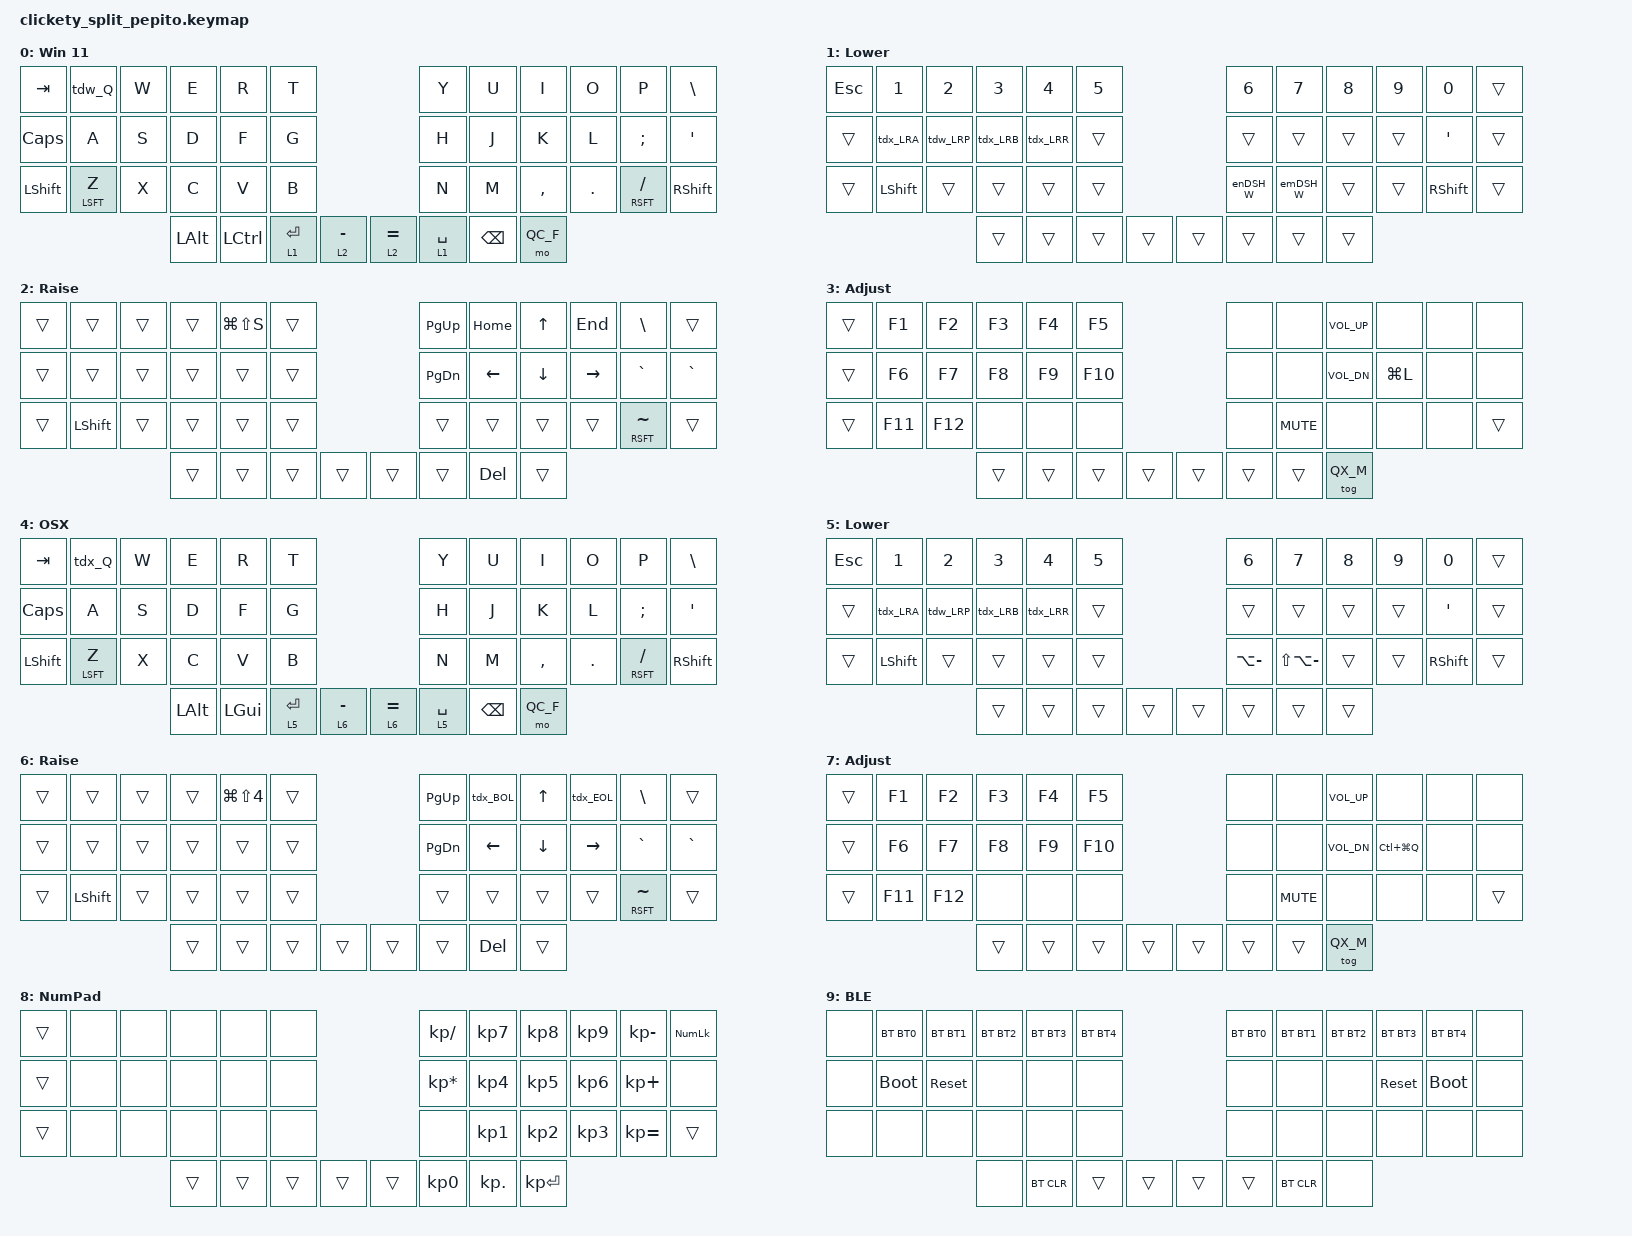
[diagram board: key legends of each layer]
/*
 * Copyright (c) 2024 The ZMK Contributors
 *
 * SPDX-License-Identifier: MIT
 */
#include <behaviors.dtsi>
#include <dt-bindings/zmk/keys.h>
#include <dt-bindings/zmk/bt.h>

// Layers
#define QW_M    0       // Main
#define QW_L    1       // Lower
#define QW_R    2       // Raise
#define QW_A    3       // Adjust

#define QX_M    4       // Main
#define QX_L    5       // Lower
#define QX_R    6       // Raise
#define QX_A    7       // Adjust

#define QC_N    8       // Number Pad
#define QC_F    9       // Firmware


// Short versions
#define WIN_SC  LG(LS(S))
#define OSX_SC  LG(LS(N4))
#define OSX_BOL LG(LEFT)
#define OSX_EOL LG(RIGHT)

#define enDSH_X LA(MINUS)
#define emDSH_X LS(LA(MINUS))

#define BT0     BT_SEL 0
#define BT1     BT_SEL 1
#define BT2     BT_SEL 2
#define BT3     BT_SEL 3
#define BT4     BT_SEL 4

#define BOOTLDR     &bootloader
#define SYSRSET     &sys_reset

#define VOLUP   C_VOL_UP
#define VOLDN   C_VOL_DN
#define VOLMT   C_MUTE

#define LOCK_W  LG(L)
#define LOCK_X  LC(LG(Q))

 
/ {
    conditional_layers {
        compatible = "zmk,conditional-layers";
        adjust_win_layer {
            if-layers = <1 2>;
            then-layer = <3>;
        };
        
        adjust_osx_layer {
            if-layers = <5 6>;
            then-layer = <7>;
        };
    };

    combos {
        compatible = "zmk,combos";
 
         
    };

    macros {
        enDSH_W: en_Dash {
            compatible = "zmk,behavior-macro";
            #binding-cells = <0>;
            wait-ms = <20>;
            tap-ms = <20>;
            bindings
                = <&macro_press   &kp LALT>
                , <&macro_tap     &kp KP_N0 &kp KP_N1 &kp KP_N5 &kp KP_N0>
                , <&macro_release &kp LALT>
                ;
        };

        emDSH_W: em_Dash {
            compatible = "zmk,behavior-macro";
            #binding-cells = <0>;
            wait-ms = <20>;
            tap-ms = <20>;
            bindings
                = <&macro_press   &kp LALT>
                , <&macro_tap     &kp KP_N0 &kp KP_N1 &kp KP_N5 &kp KP_N1>
                , <&macro_release &kp LALT>
                ;
        };
    };

    behaviors {
        tdw_Q: tap_dance_0 {
            compatible = "zmk,behavior-tap-dance";
            #binding-cells = <0>;
            tapping-term-ms = <200>;
            bindings = <&kp Q>, <&kp LA(F4)>;
        };

        tdx_Q: tap_dance_1 {
            compatible = "zmk,behavior-tap-dance";
            #binding-cells = <0>;
            tapping-term-ms = <200>;
            bindings = <&kp Q>, <&kp LG(Q)>;
        };

        tdw_LRP: tap_dance_2 {
            compatible = "zmk,behavior-tap-dance";
            #binding-cells = <0>;
            tapping-term-ms = <200>;
            bindings = <&kp LPAR>, <&kp RPAR>;
        };

        tdx_LRB: tap_dance_3 {
            compatible = "zmk,behavior-tap-dance";
            #binding-cells = <0>;
            tapping-term-ms = <200>;
            bindings = <&kp LBKT>, <&kp RBKT>;
        };

        tdx_LRR: tap_dance_4 {
            compatible = "zmk,behavior-tap-dance";
            #binding-cells = <0>;
            tapping-term-ms = <200>;
            bindings = <&kp LBRC>, <&kp RBRC>;
        };

        tdx_LRA: tap_dance_5 {
            compatible = "zmk,behavior-tap-dance";
            #binding-cells = <0>;
            tapping-term-ms = <200>;
            bindings = <&kp LT>, <&kp GT>;
        };

        tdx_BOL: tap_dance_6 {
            compatible = "zmk,behavior-tap-dance";
            #binding-cells = <0>;
            tapping-term-ms = <200>;
            bindings = <&kp LG(LEFT)>, <&kp HOME>;
        };

        tdx_EOL: tap_dance_7 {
            compatible = "zmk,behavior-tap-dance";
            #binding-cells = <0>;
            tapping-term-ms = <200>;
            bindings = <&kp LG(RIGHT)>, <&kp END>;
        };
    };

    keymap {
        compatible = "zmk,keymap";

        default_win_layer {
            display-name = " Win 11";
            bindings = <
&kp TAB    &tdw_Q     &kp W      &kp E      &kp R      &kp T                            &kp Y      &kp U      &kp I      &kp O      &kp P         &kp BSLH
&kp CAPS   &kp A      &kp S      &kp D      &kp F      &kp G                            &kp H      &kp J      &kp K      &kp L      &kp SEMI      &kp SQT
&kp LSHFT  &mt LSFT Z &kp X      &kp C      &kp V      &kp B                            &kp N      &kp M      &kp COMMA  &kp DOT    &mt RSFT FSLH &kp RSHFT
                              &kp LALT &kp LCTRL  &lt 1 RET  &lt 2 MINUS    &lt 2 EQUAL &lt 1 SPACE  &kp BSPC &mo QC_F
            >;
        };

        lower_win_layer {
            display-name = " Lower";
            bindings = <
&kp ESC    &kp N1     &kp N2     &kp N3     &kp N4     &kp N5                           &kp N6     &kp N7     &kp N8     &kp N9     &kp N0     &trans
&trans     &tdx_LRA   &tdw_LRP   &tdx_LRB   &tdx_LRR   &trans                           &trans     &trans     &trans     &trans     &kp QUOT   &trans
&trans     &kp LSHFT  &trans     &trans     &trans     &trans                           &enDSH_W   &emDSH_W   &trans     &trans     &kp RSHFT  &trans
                                 &trans     &trans     &trans     &trans      &trans    &trans     &trans     &trans
            >;
        };

        raise_win_layer {
            display-name = " Raise";
            bindings = <
&trans     &trans     &trans     &trans     &kp WIN_SC &trans                           &kp PG_UP  &kp HOME   &kp UP     &kp END    &kp BSLH       &trans
&trans     &trans     &trans     &trans     &trans     &trans                           &kp PG_DN  &kp LEFT   &kp DOWN   &kp RIGHT  &kp GRAVE      &kp GRAVE
&trans     &kp LSHFT  &trans     &trans     &trans     &trans                           &trans     &trans     &trans     &trans     &mt RSFT TILDE &trans
                                 &trans     &trans     &trans     &trans      &trans    &trans     &kp DEL    &trans
            >;
        };

        adjust_win_layer {
            display-name = " Adjust";
            bindings = <
&trans     &kp F1     &kp F2     &kp F3     &kp F4     &kp F5                           &none      &none      &kp VOLUP  &none      &none      &none
&trans     &kp F6     &kp F7     &kp F8     &kp F9     &kp F10                          &none      &none      &kp VOLDN  &kp LOCK_W &none      &none 
&trans     &kp F11    &kp F12    &none      &none      &none                            &none      &kp VOLMT  &none      &none      &none      &trans
                                 &trans     &trans     &trans     &trans      &trans    &trans     &trans     &tog QX_M
            >;
        };

        default_osx_layer {
            display-name = " OSX";
            bindings = <
&kp TAB    &tdx_Q     &kp W      &kp E      &kp R      &kp T                            &kp Y      &kp U      &kp I      &kp O      &kp P         &kp BSLH
&kp CAPS   &kp A      &kp S      &kp D      &kp F      &kp G                            &kp H      &kp J      &kp K      &kp L      &kp SEMI      &kp SQT
&kp LSHFT  &mt LSFT Z &kp X      &kp C      &kp V      &kp B                            &kp N      &kp M      &kp COMMA  &kp DOT    &mt RSFT FSLH &kp RSHFT
                            &kp LALT   &kp LGUI   &lt 5 RET  &lt 6 MINUS    &lt 6 EQUAL &lt 5 SPACE  &kp BSPC   &mo QC_F
            >;
        };

        lower_osx_layer {
            display-name = " Lower";
            bindings = <
&kp ESC    &kp N1     &kp N2     &kp N3     &kp N4     &kp N5                           &kp N6      &kp N7      &kp N8     &kp N9     &kp N0     &trans
&trans     &tdx_LRA   &tdw_LRP   &tdx_LRB   &tdx_LRR   &trans                           &trans      &trans      &trans     &trans     &kp QUOT   &trans
&trans     &kp LSHFT  &trans     &trans     &trans     &trans                           &kp enDSH_X &kp emDSH_X &trans     &trans     &kp RSHFT  &trans
                                 &trans     &trans     &trans     &trans      &trans    &trans      &trans     &trans
            >;
        };

        raise_osx_layer {
            display-name = " Raise";
            bindings = <
&trans     &trans     &trans     &trans     &kp OSX_SC &trans                           &kp PG_UP  &tdx_BOL   &kp UP     &tdx_EOL   &kp BSLH       &trans
&trans     &trans     &trans     &trans     &trans     &trans                           &kp PG_DN  &kp LEFT   &kp DOWN   &kp RIGHT  &kp GRAVE      &kp GRAV
&trans     &kp LSHFT  &trans     &trans     &trans     &trans                           &trans     &trans     &trans     &trans     &mt RSFT TILDE &trans
                                 &trans     &trans     &trans     &trans      &trans    &trans     &kp DEL    &trans
            >;
        };

        adjust_osx_layer {
            display-name = " Adjust";
            bindings = <
&trans     &kp F1     &kp F2     &kp F3     &kp F4     &kp F5                           &none      &none      &kp VOLUP  &none      &none      &none
&trans     &kp F6     &kp F7     &kp F8     &kp F9     &kp F10                          &none      &none      &kp VOLDN  &kp LOCK_X &none      &none 
&trans     &kp F11    &kp F12    &none      &none      &none                            &none      &kp VOLMT  &none      &none      &none      &trans
                                 &trans     &trans     &trans     &trans      &trans    &trans     &trans     &tog QX_M
            >;
        };

        numpad_layer {
            display-name = "NumPad";
            bindings = <
&trans      &none     &none      &none      &none      &none                            &kp KP_DIVIDE   &kp KP_N7   &kp KP_N8  &kp KP_N9  &kp KP_MINUS  &kp KP_NUM
&trans      &none     &none      &none      &none      &none                            &kp KP_MULTIPLY &kp KP_N4   &kp KP_N5  &kp KP_N6  &kp KP_PLUS   &none
&trans      &none     &none      &none      &none      &none                            &none           &kp KP_N1   &kp KP_N2  &kp KP_N3  &kp KP_EQUAL  &trans
                                 &trans     &trans     &trans     &trans      &trans    &kp KP_N0       &kp KP_DOT  &kp KP_ENTER
            >;
        };

        firmware_layer {
            display-name = " BLE";
            bindings = <
&none       &bt BT0     &bt BT1  &bt BT2    &bt BT3    &bt BT4                          &bt BT0    &bt BT1    &bt BT2    &bt BT3    &bt BT4    &none 
&none       BOOTLDR     SYSRSET  &none      &none      &none                            &none      &none      &none      SYSRSET    BOOTLDR    &none
&none       &none       &none    &none      &none      &none                            &none      &none      &none      &none      &none      &none
                                 &none      &bt BT_CLR &trans     &trans      &trans    &trans     &bt BT_CLR &none 
            >;
        };
    };
};
